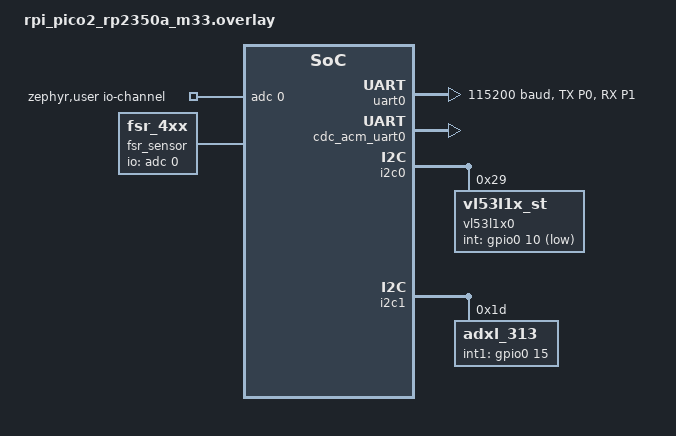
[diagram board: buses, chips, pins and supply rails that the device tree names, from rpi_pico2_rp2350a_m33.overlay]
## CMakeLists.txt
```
cmake_minimum_required(VERSION 3.20.0)

set(KCONFIG_ERROR_ON_WARNING OFF CACHE BOOL "" FORCE)

list(APPEND ZEPHYR_EXTRA_MODULES ${CMAKE_CURRENT_SOURCE_DIR})
list(APPEND ZEPHYR_LIBRARY_EXTRA_INCLUDES ${CMAKE_CURRENT_SOURCE_DIR}/inc)

# 2. Load Zephyr
find_package(Zephyr REQUIRED HINTS $ENV{ZEPHYR_BASE})
project(sensor_node)

# Add source files
FILE(GLOB SRC_FILES "src/*.c" "ISR/*.c")

target_sources(app PRIVATE 
    ${SRC_FILES}
    src/sensor_node.c
    ../coms/coms.c
)

target_include_directories(app PRIVATE
    ../include
)
```

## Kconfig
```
source "Kconfig.zephyr"

 # Use the full path here to force Windows to find it
# source "C:/Users/hamaxa/zephyrproject/PES_Project/sensor_node/drivers/Kconfig"
```

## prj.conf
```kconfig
CONFIG_I2C=y
CONFIG_GPIO=y
CONFIG_ADC=y
CONFIG_ADC_RPI_PICO=y
CONFIG_SENSOR=y
CONFIG_FSR_4XX=y
CONFIG_SERIAL=y
CONFIG_CONSOLE=y
CONFIG_UART_CONSOLE=y
CONFIG_PRINTK=y
CONFIG_VL53L1X_ST=y
CONFIG_POLL=y
CONFIG_STDOUT_CONSOLE=y
CONFIG_UART_LINE_CTRL=y

CONFIG_USB_DEVICE_STACK_NEXT=y
CONFIG_CDC_ACM_SERIAL_INITIALIZE_AT_BOOT=y
CONFIG_CDC_ACM_SERIAL_PID=0x0004
CONFIG_CDC_ACM_SERIAL_PRODUCT_STRING="USBD console sample"
CONFIG_UART_INTERRUPT_DRIVEN=y

CONFIG_PRINTK=y
CONFIG_ADXL_313=y
```

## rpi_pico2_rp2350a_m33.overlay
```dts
#include <zephyr/dt-bindings/gpio/gpio.h>

/ {
    chosen {
            zephyr,console = &cdc_acm_uart0;
            zephyr,shell-uart = &cdc_acm_uart0;
    };
};

&uart0 {
    status = "okay";
    current-speed = <115200>;
    pinctrl-0 = <&uart0_default>;
    pinctrl-names = "default";
};

/ {
    zephyr,user {
        io-channels = <&adc 0>;
    };

    fsr_sensor: fsr_4xx {
        compatible = "fsr_4xx";
        io-channels = <&adc 0>;
        resolution = <12>;
        status = "okay";
    };
};

&zephyr_udc0 {
        cdc_acm_uart0: cdc_acm_uart0 {
        compatible = "zephyr,cdc-acm-uart";
    };
};

&pinctrl {
    uart0_default: uart0_default {
        group1 {
            pinmux = <UART0_TX_P0>;
        };
        group2 {
            pinmux = <UART0_RX_P1>;
            input-enable;
        };
    };
};

&i2c0 {
    status = "okay";

    vl53l1x0: vl53l1x@29 {
        compatible = "vl53l1x_st";
        reg = <0x29>;
        int-gpios = <&gpio0 10 GPIO_ACTIVE_LOW>;
        threshold-mm = <70>;
        intermeasurement-period-ms = <80>;
        sample-window-ms = <3000>;
        status = "okay";
    };
};

&i2c1 {
        status = "okay";
        adxl_313: adxl_313@1d {
            compatible = "adxl_313"; /* adxl_313 uses the adxl_313 driver */
            reg = <0x1d>;
            int1-gpios = <&gpio0 15 (GPIO_PULL_DOWN | GPIO_ACTIVE_HIGH)>;
            status = "okay";
        };
    };
```

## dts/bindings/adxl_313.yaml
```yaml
description: |
  adxl_313 3-axis I2C/SPI accelerometer
  When setting the accelerometer DTS properties and want to use
  streaming functionality, make sure to include adxl_313.h and
  use the macros defined there for fifo-mode and fifo-watermark properties.

compatible: "adxl_313"

include: [sensor-device.yaml]

properties:
  int1-gpios:
    type: phandle-array
    description: |
      The INT1 signal defaults to active high as produced by the
      sensor.  The property value should ensure the flags properly
      describe the signal that is presented to the driver.

  wakeup-mode:
    type: boolean
    description: |
      This mode is intended for extremely low power consumption,
      checking for motion only about six times a second.

  autosleep:
    type: boolean
    description: |
      Enter Wake-Up mode when inactivity is detected,
      reenter Measurement mode when activity is detected.
      Only applies for Linked and Loop mode, ignored otherwise.

  fifo-mode:
    type: int
    description: |
          Accelerometer FIFO Mode.
          0 # adxl_313_FIFO_MODE_DISABLED
          1 # adxl_313_FIFO_MODE_OLDEST_SAVED
          2 # adxl_313_FIFO_MODE_STREAM
          3 # adxl_313_FIFO_MODE_TRIGGERED
    enum:
      - 0
      - 1
      - 2
      - 3

  fifo-watermark:
    type: int
    description: |
      Specify the FIFO watermark level in frame count.
      Valid range: 0 - 511

examples:
  - |
    #include <zephyr/dt-bindings/sensor/adxl_313.h>

    adxl_313: adxl_313@0 {
      /* ... */
      fifo-mode = <adxl_313_FIFO_MODE_STREAM>;
      fifo-watermark = <0x80>;
    };
```

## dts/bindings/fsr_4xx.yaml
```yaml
description: Interlink FSR 4xx Force Sensitive Resistor
compatible: "fsr_4xx"

# Include sensor-device to get standard sensor properties
include: sensor-device.yaml

properties:
  # This tells Zephyr that this node points to an ADC channel
  io-channels:
    type: phandle-array
    required: true
    description: ADC channel to use

  resolution:
    type: int
    required: true
    description: ADC resolution (e.g., 12)
```

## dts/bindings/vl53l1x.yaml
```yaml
description: VL53L1X time-of-flight distance sensor

compatible: "vl53l1x_st"

include: [sensor-device.yaml, i2c-device.yaml]

properties:
  int-gpios:
    type: phandle-array
    required: true
    description: GPIO connected to VL53L1X GPIO1 interrupt output

  threshold-mm:
    type: int
    required: false
    default: 300
    description: Distance threshold in millimeters

  intermeasurement-period-ms:
    type: int
    required: false
    default: 50
    description: Continuous ranging period in milliseconds

  sample-window-ms:
    type: int
    required: false
    default: 3000
    description: Averaging window in milliseconds
```

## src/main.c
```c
#include <zephyr/kernel.h>
#include <zephyr/device.h>
#include <zephyr/drivers/sensor.h>
#include "vl53l1x.h"
#include "isr.h"

int main(void)
{
    const struct device *tof =
        DEVICE_DT_GET(DT_NODELABEL(vl53l1x0));

    if (!device_is_ready(tof)) {
        printk("VL53L1X not ready\n");
        return 0;
    }

    printk("VL53L1X ready\n");
    
    if (sensor_interrupt_init() < 0) {
        printk("failed to init ToF interrupt\n");
    }

    if (vl53l1x_start_continuous(tof) < 0) {
        printk("failed to start continuous mode\n");
        return 0;
    }

    printk("continuous mode started\n");

    while (1) {
        int distance = avgSampleReading(tof);

        if (distance < 0) {
            printk("sample fetch failed\n");
        }
        k_sleep(K_MSEC(100));
    }
}
```

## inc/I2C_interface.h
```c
#ifndef I2C_INTERFACE_H
#define I2C_INTERFACE_H   
#include <stdint.h>
#include <stddef.h>
#include <zephyr/drivers/i2c.h>

typedef enum
{
    I2C_OK,
    I2C_ERROR_BUS,
    I2C_ERROR_NOT_READY
} i2c_status;

i2c_status sensor_write_reg(uint8_t device_addr, uint16_t reg_addr, const uint8_t *data, uint16_t length);
i2c_status sensor_read_reg(uint8_t device_addr, uint16_t reg_addr, uint8_t *data, uint16_t length);
i2c_status sensor_write_reg_u8(uint8_t device_addr, uint16_t reg_addr, uint8_t data);
i2c_status sensor_write_reg_u16(uint8_t device_addr, uint16_t reg_addr, uint16_t data);
i2c_status sensor_write_reg_u32(uint8_t device_addr, uint16_t reg_addr, uint32_t data);
i2c_status sensor_read_reg_u8(uint8_t device_addr, uint16_t reg_addr, uint8_t *data);
i2c_status sensor_read_reg_u16(uint8_t device_addr, uint16_t reg_addr, uint16_t *data);
i2c_status sensor_read_reg_u32(uint8_t device_addr, uint16_t reg_addr, uint32_t *data);

#endif
```

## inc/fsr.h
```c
#include <zephyr/kernel.h>

int config_adc();

int read_adc(int32_t* adc);

int get_voltage_trig(int32_t* voltage);

int get_voltage(int32_t* voltage);

int get_force_trig(int32_t* force);

int get_force(int32_t* force, int32_t voltage_mv);
```

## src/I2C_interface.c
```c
#include "I2C_interface.h"
#include <zephyr/device.h>
#include <zephyr/devicetree.h>
#include <string.h>

#define SENSOR_I2C_NODE_0 DT_NODELABEL(i2c0)
#define SENSOR_I2C_NODE_1 DT_NODELABEL(i2c1)
static const struct device *g_i2c_dev_0 = DEVICE_DT_GET(SENSOR_I2C_NODE_0);
static const struct device *g_i2c_dev_1 = DEVICE_DT_GET(SENSOR_I2C_NODE_1);

i2c_status sensor_write_reg(uint8_t device_addr, uint16_t reg_addr, const uint8_t *data, uint16_t length)
{
    uint8_t reg_buf[2 + 4]; // 2 bytes for reg and 3 for data, adjust if needed
    if (!device_is_ready(g_i2c_dev_0)) {
        return I2C_ERROR_NOT_READY;
    }
    reg_buf[0] = reg_addr >> 8; 
    reg_buf[1] = reg_addr & 0xFF;
    memcpy(&reg_buf[2], data, length);

    return (i2c_write(g_i2c_dev_0, reg_buf, length + 2, device_addr) == 0)? I2C_OK : I2C_ERROR_BUS;
}

i2c_status sensor_write_reg_adxl313(uint8_t device_addr, uint16_t reg_addr, const uint8_t *data, uint16_t length)
{
    uint8_t tx_buf[1+length]; // 1 byte for reg 3 for data, adjust if needed
    if (!device_is_ready(g_i2c_dev_1)) {
        return I2C_ERROR_NOT_READY;
    }
    tx_buf[0] = reg_addr;
    memcpy(&tx_buf[1], data, length);

    /*for(int i = 0; i < length+1; i++){
        printk("%d ", tx_buf[i]);
    }*/

    //printk("\n");

    return (i2c_write(g_i2c_dev_1, tx_buf, length+1, device_addr) == 0)? I2C_OK : I2C_ERROR_BUS;
}

i2c_status sensor_read_reg(uint8_t device_addr, uint16_t reg_addr, uint8_t *data, uint16_t length)
{
    uint8_t reg_buf[2] = { reg_addr >> 8, reg_addr & 0xFF };
    if (!device_is_ready(g_i2c_dev_0)) {
        return I2C_ERROR_NOT_READY;
    }

    return (i2c_write_read(g_i2c_dev_0, device_addr, reg_buf, sizeof(reg_buf), data, length) == 0)? I2C_OK : I2C_ERROR_BUS;
}

i2c_status sensor_read_reg_adxl313(uint8_t device_addr, uint8_t reg_addr, uint8_t *data, uint16_t length)
{
    if (!device_is_ready(g_i2c_dev_1)) {
        return I2C_ERROR_NOT_READY;
    }

    return (i2c_write_read(g_i2c_dev_1, device_addr, &reg_addr, sizeof(reg_addr), data, length) == 0)? I2C_OK : I2C_ERROR_BUS;
}

i2c_status sensor_read_reg_cont(uint8_t device_addr, uint16_t reg_addr, uint8_t *data, uint16_t length)
{
    if (!device_is_ready(g_i2c_dev_0)) {
        return I2C_ERROR_NOT_READY;
    }

    return (i2c_write_read(g_i2c_dev_0, device_addr, &reg_addr, sizeof(reg_addr), data, length) == 0)? I2C_OK : I2C_ERROR_BUS;
}

i2c_status sensor_write_reg_u8(uint8_t device_addr, uint16_t reg_addr, uint8_t data)
{
    return sensor_write_reg(device_addr, reg_addr, &data, 1);
}

i2c_status sensor_write_reg_u16(uint8_t device_addr, uint16_t reg_addr, uint16_t data)
{
    uint8_t buf[2] = { data >> 8, data & 0xFF };

    return sensor_write_reg(device_addr, reg_addr, buf, 2);
}

i2c_status sensor_write_reg_u32(uint8_t device_addr, uint16_t reg_addr, uint32_t data)
{
    uint8_t buf[4] = {
        (data >> 24) & 0xFF,
        (data >> 16) & 0xFF,
        (data >> 8)  & 0xFF,
        data & 0xFF
    };

    return sensor_write_reg(device_addr, reg_addr, buf, 4);
}

i2c_status sensor_read_reg_u8(uint8_t device_addr, uint16_t reg_addr, uint8_t *data)
{
    return sensor_read_reg(device_addr, reg_addr, data, 1);
}

i2c_status sensor_read_reg_u16(uint8_t device_addr, uint16_t reg_addr, uint16_t *data)
{
    uint8_t buf[2];
    i2c_status status = sensor_read_reg(device_addr, reg_addr, (uint8_t*)buf, 2);
    if (status == I2C_OK) { *data = ((uint16_t)buf[0] << 8) | buf[1]; }

    return status;
}

i2c_status sensor_read_reg_u32(uint8_t device_addr, uint16_t reg_addr, uint32_t *data)
{
    uint8_t buf[4];

    i2c_status status = sensor_read_reg(device_addr, reg_addr, buf, 4);

    if (status == I2C_OK)
    {
        *data = ((uint32_t)buf[0] << 24) |
                 ((uint32_t)buf[1] << 16) |
                 ((uint32_t)buf[2] << 8)  |
                 (uint32_t)buf[3];
    }

    return status;
}
```

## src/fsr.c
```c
#include <stdlib.h>
#include <zephyr/kernel.h>
#include <zephyr/drivers/adc.h>
#include "fsr.h"

#define DT_SPEC_AND_COMMA(node_id, prop, idx) \
	ADC_DT_SPEC_GET_BY_IDX(node_id, idx),

#define RM 10000
#define SUPPLY_V 3300

static uint16_t buf;   
typedef struct FvR
{
    uint32_t resistance;
    uint16_t force;
} FvR;

static const FvR fvr[10] = {
								{250, 10000},
								{300, 7000},
								{450, 4000},
								{750, 2000},
								{1200, 1000},
								{2000, 500},
								{3500, 250},
								{6000, 100},
								{10000, 50},
								{30000, 20},
};

static const struct adc_dt_spec adc_channels[] = {
	DT_FOREACH_PROP_ELEM(DT_PATH(zephyr_user), io_channels,
			     DT_SPEC_AND_COMMA)
};

struct adc_sequence sequence = {
	.buffer = &buf,
	.buffer_size = sizeof(buf),
};

int config_adc(){
    /* Configure channels individually prior to sampling. */
	for (size_t i = 0U; i < ARRAY_SIZE(adc_channels); i++) {
		if (!adc_is_ready_dt(&adc_channels[i])) {
			return -1;
		}
		adc_channel_setup_dt(&adc_channels[i]);
	}
	return 0;
}

/*
	Reads ADC Code, returns error status
*/
int read_adc(int32_t* adc){
    (void)adc_sequence_init_dt(&adc_channels[0], &sequence);
	int err = adc_read_dt(&adc_channels[0], &sequence);
	if (err < 0) {
		return -1;
	}
	*adc = buf;
    return 0;
}

int get_voltage_trig(int32_t* voltage){
	read_adc(voltage);
    int err = adc_raw_to_millivolts_dt(&adc_channels[0], voltage);

	if ((err < 0) || (*voltage > SUPPLY_V)) {
		return -1;
	}

	return 0;
}

int get_voltage(int32_t* voltage){
    int err = adc_raw_to_millivolts_dt(&adc_channels[0], voltage);

	if ((err < 0) || (*voltage > SUPPLY_V)) {
		return -1;
	}

	return 0;
}

int find_fvr_index(int32_t resistance){
	int max = 9;
	int min = 0;
	int counter = 0;
	int mid;
	while(min <= max){
		mid = min + (max - min) / 2;
		if(resistance < fvr[mid].resistance){
			max = mid - 1;
		}
		if(resistance > fvr[mid].resistance){
			min = mid + 1;
		}
		if((resistance == fvr[mid].resistance) || (counter >= 10)){
			return mid;
		}
		counter++;
	}
	return mid;
}

int get_force(int32_t* force, int32_t voltage_mv){
	uint32_t resistance = abs(((RM * voltage_mv) / SUPPLY_V) - RM); //((voltage / SUPPLY_V) - 1) * RM;
	printk("Resistance: %d\n", resistance);
	int index = find_fvr_index(resistance);
	if(abs(resistance - fvr[index].resistance) >= abs(resistance - fvr[index-1].resistance)){
		*force = fvr[index-1].force;
		return 0;
	}
	*force = fvr[index].force;
	return 0;
}

int get_force_trig(int32_t* force){
	int32_t voltage_mv = 0; 

	int err = get_voltage_trig(&voltage_mv);
	if(err < 0){
		return err;
	}	

	uint32_t resistance = abs(((RM * voltage_mv) / SUPPLY_V) - RM); //((voltage / SUPPLY_V) - 1) * RM;
	printk("Resistance: %d\n", resistance);
	int index = find_fvr_index(resistance);
	if(abs(resistance - fvr[index].resistance) >= abs(resistance - fvr[index-1].resistance)){
		*force = fvr[index].force;
		return 0;
	}
	*force = fvr[index].force;

	return 0;
}
```

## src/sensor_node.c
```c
#include "sensor_node.h"
#include "debug_print.h"
#include <zephyr/drivers/sensor.h>
#include <zephyr/kernel.h>
#include <zephyr/drivers/gpio.h>
#include "vl53l1x.h"
#include "isr.h"
#include <stdint.h>

#define UART_NODE DT_NODELABEL(uart0)

#ifndef SENSOR_CHAN_FORCE
#define SENSOR_CHAN_FORCE SENSOR_CHAN_PRIV_START
#endif

enum adxl313_custom_attr {
    SENSOR_ATTR_ADXL313_RAW_THRESH = SENSOR_ATTR_PRIV_START,
};

static const struct device *const acc_dev = DEVICE_DT_GET(DT_NODELABEL(adxl_313));
static const struct device *uart_dev = DEVICE_DT_GET(UART_NODE);

static const struct device *const fsr_dev = DEVICE_DT_GET(DT_NODELABEL(fsr_sensor));
static const struct device *tof = DEVICE_DT_GET(DT_NODELABEL(vl53l1x0));

int dynamic_set_variable = 0;

K_MSGQ_DEFINE(packet_queue, sizeof(packet_t *), QUEUE_SIZE, __alignof__(packet_t *));

sensor_node_t sn;

void motion_handler(const struct device *dev, const struct sensor_trigger *trig)
{
    APP_PRINT(SN_TAG, DEBUG_TAG, "Motion detected...Activating emergency protocol!");
    sensor_emergency_isr();
}

void init(sensor_node_t *sn)
{
    // Allow the sensors to configure.
    k_sleep(K_SECONDS(5));

    if (!device_is_ready(acc_dev))
    {
        APP_PRINT(SN_TAG, ERROR_TAG, "Sensor device not ready!");
        return;
    }
    else
    {
        APP_PRINT(SN_TAG, DEBUG_TAG, "Sensor init complete!");
    }

    struct sensor_trigger trig = {
        .type = SENSOR_TRIG_DELTA, 
        .chan = SENSOR_CHAN_ACCEL_XYZ,
    };

    int ret = sensor_trigger_set(acc_dev, &trig, motion_handler);
    
    if (ret != 0) {
        APP_PRINT(SN_TAG, ERROR_TAG, "Failed to set trigger: %d", ret);
        return;
    }

    if (!device_is_ready(uart_dev))
    {
        return;
    }

    if (!device_is_ready(tof)) {
        APP_PRINT(SN_TAG, ERROR_TAG, "VL53L1X not ready!");
        return;
    }

    if (sensor_interrupt_init() < 0) {
        APP_PRINT(SN_TAG, ERROR_TAG, "Failed to init ToF interrupt!");
    }

    if (vl53l1x_start_continuous(tof) < 0) {
        APP_PRINT(SN_TAG, ERROR_TAG, "Failed to start VL53L1X in continuous mode");
        return;
    }
}

static bool in_emergency = false;
static int packet_count = 0;

K_SEM_DEFINE(emergency_sem, 0, 1);

void sensor_emergency_isr(void)
{
    // Only give the semaphore if we aren't already handling an emergency
    if (!in_emergency) {
        k_sem_give(&emergency_sem);
    }
}
void emergency_task()
{
    while (true)
    {
        k_sem_take(&emergency_sem, K_FOREVER);
        
        // Double-check flag to prevent queue spamming
        if (!in_emergency) {
            in_emergency = true;
            packet_t *packet = build_packet(EMERGENCY, NULL, 0);
            if (packet)
            {
                APP_PRINT(SN_TAG, DEBUG_TAG, "Sending emergency packet!");
                k_msgq_put(&packet_queue, &packet, K_FOREVER);
            }
        }
    }
}


void process_packet(packet_t *packet)
{
    if (in_emergency && packet->type != EMERGENCY_ACK)
    {
        send_response(EMERGENCY, NULL, 0);
        return;
    }

    switch (packet->type)
    {
		/*Request of sensor data*/
    case REQUEST:
    {

        struct sensor_value accel[3];
        struct sensor_value force;

        sensor_sample_fetch(acc_dev);
        sensor_channel_get(acc_dev, SENSOR_CHAN_ACCEL_XYZ, accel);

        sensor_sample_fetch(fsr_dev);
        sensor_channel_get(fsr_dev, SENSOR_CHAN_FORCE, &force);

        int32_t distance = avgSampleReading(tof);

        int32_t readings[5] = {
            (int32_t)(accel[0].val1 * 1000 + accel[0].val2 / 1000), /* accel X milli-g */
            (int32_t)(accel[1].val1 * 1000 + accel[1].val2 / 1000), /* accel Y milli-g */
            (int32_t)(accel[2].val1 * 1000 + accel[2].val2 / 1000), /* accel Z milli-g */
            (int32_t)force.val1,                                    /* force mN        */
            distance,                                               /* distance mm     */
        };

        send_response(RESPONSE, (uint8_t *)readings, sizeof(readings));
        break;
    }

    // case CONFIG_DISTANCE:

    // {
    //     dynamic_set_variable = newvaueFromPacket

    // }
    case EMERGENCY_ACK:
    {
        in_emergency = false;
        packet_count = 0;
        send_response(READY, NULL, 0);
        break;
    }

    case CONFIG:
    {
        uint8_t sensitivity = (uint8_t)packet->data[0];
        struct sensor_value raw_sensitivity;
        if(sensitivity == LOW){
            raw_sensitivity.val1 = 0x50;
            sensor_attr_set(acc_dev, SENSOR_CHAN_ACCEL_XYZ, (enum sensor_attribute)SENSOR_ATTR_ADXL313_RAW_THRESH, &raw_sensitivity);
        }
        else if(sensitivity == MEDIUM){
            raw_sensitivity.val1 = 0xF0;
            sensor_attr_set(acc_dev, SENSOR_CHAN_ACCEL_XYZ, (enum sensor_attribute)SENSOR_ATTR_ADXL313_RAW_THRESH, &raw_sensitivity);
        }
        else if(sensitivity == HIGH){
            raw_sensitivity.val1 = 0xFF;
            sensor_attr_set(acc_dev, SENSOR_CHAN_ACCEL_XYZ, (enum sensor_attribute)SENSOR_ATTR_ADXL313_RAW_THRESH, &raw_sensitivity);
        }
    }

    default:
        break;
    }
}

// sensor_reading_t read_sensor_data()
// {
//     sensor_reading_t reading;

//     reading.timestamp = k_uptime_get();
//     reading.type = REQUESTED;
//     reading.dist = 0.0f;
//     reading.force = 0.0f;

//     return reading;
// }

void worker_task()
{
    init(&sn);
    packet_t *packet;

    while (true)
    {
        if (k_msgq_get(&packet_queue, &packet, K_FOREVER) == 0)
        {
            process_packet(packet);
            destroy_packet(packet);
        }
    }
}


void uart_read_task()
{
    uint8_t received_byte;
    uint8_t packet_type = 0;
    uint8_t payload_len = 0;
    uint8_t payload_index = 0;
    uint8_t payload[64];

    int state = 0;

    if (!device_is_ready(uart_dev))
    {
        APP_PRINT(SN_TAG, ERROR_TAG, "UART not ready!");
        return;
    }

    APP_PRINT(SN_TAG, DEBUG_TAG, "UART read task started");

    while (true)
    {
        if (uart_poll_in(uart_dev, &received_byte) == 0)
        {
            switch (state)
            {
            case 0:
            {
                if (received_byte == SYNC_BYTE)
                {
                    state = 1;
                    payload_index = 0;
                }
                break;
            }

            case 1:
            {
                packet_type = received_byte;
                state = 2;
                break;
            }

            case 2:
            {
                payload_len = received_byte;

                if (payload_len == 0)
                {
                    packet_t *packet = build_packet(packet_type, NULL, 0);

                    if (packet)
                    {
                        k_msgq_put(&packet_queue, &packet, K_FOREVER);
                    }

                    state = 0;
                }
                else if (payload_len > sizeof(payload))
                {
                    APP_PRINT(SN_TAG, ERROR_TAG, "Payload too large: %u bytes", payload_len);
                    state = 0;
                }
                else
                {
                    payload_index = 0;
                    state = 3;
                }

                break;
            }

            case 3:
            {
                payload[payload_index++] = received_byte;

                if (payload_index >= payload_len)
                {
                    packet_t *packet = build_packet(packet_type, payload, payload_len);

                    if (packet)
                    {
                        k_msgq_put(&packet_queue, &packet, K_FOREVER);
                    }

                    state = 0;
                }

                break;
            }

            default:
            {
                APP_PRINT(SN_TAG, ERROR_TAG, "Invalid parser state: (%d). Resetting state machine.", state);
                state = 0;
                break;
            }
            }
        }
        else
        {
            k_sleep(K_MSEC(1)); // nothing received, give worker thread time to launch
        }

        k_yield();
    }
}

#ifndef CONFIG_ZTEST
K_THREAD_DEFINE(uart_read_tid, STACK_SIZE, uart_read_task, NULL, NULL, NULL, READ_PRIO, 0, 0);
K_THREAD_DEFINE(worker_tid, STACK_SIZE, worker_task, NULL, NULL, NULL, WORKER_PRIO, 0, 0);
K_THREAD_DEFINE(emergency_tid, STACK_SIZE, emergency_task, NULL, NULL, NULL, EMERGENCY_PRIO, 0, 0);
#endif
```

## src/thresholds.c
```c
#include "thresholds.h"

const Thresholds thresholds = {
    .min_distance_mm = 70,
    .max_angle_tilt_degrees = 45,
    .max_pressure_weight_N = 1000,
};
```
